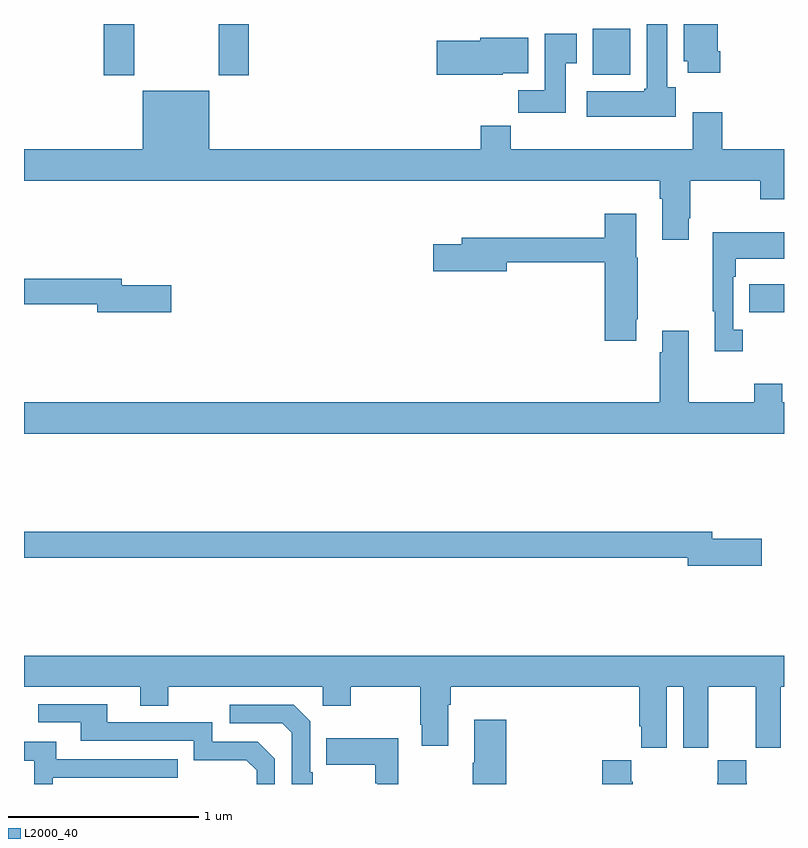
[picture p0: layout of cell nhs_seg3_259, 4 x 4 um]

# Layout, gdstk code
import gdstk
lib = gdstk.Library(unit=1e-6, precision=1e-09)
def R(c, l, rs):  # rectangles x0, y0, x1, y1
    for r in rs: c.add(gdstk.rectangle(r[:2], r[2:], *l))
def P(c, l, *ps):  # polygons
    for p in ps: c.add(gdstk.Polygon(p, *l))
L2000_40 = (2000, 40)

nhs_seg3_259 = lib.new_cell('nhs_seg3_259')
R(nhs_seg3_259, L2000_40, [(126.817,706.882,127,707.029), (123.419,708.129,123.579,708.4), (124.024,708.129,124.184,708.4), (125.993,708.134,126.19,708.376)])
P(nhs_seg3_259, L2000_40, [(126.43,708.066),(126.385,708.066),(126.385,708.4),(126.278,708.4),(126.278,708.06),(126.265,708.06),(126.265,708.046),(125.961,708.046),(125.961,707.912),(126.43,707.912)],
  [(126.665,708.256),(126.652,708.256),(126.652,708.4),(126.473,708.4),(126.473,708.204),(126.494,708.204),(126.494,708.144),(126.665,708.144)],
  [(125.851,708.193),(125.908,708.193),(125.908,708.349),(125.741,708.349),(125.741,708.052),(125.602,708.052),(125.602,707.934),(125.851,707.934)],
  [(125.52,708.14),(125.653,708.14),(125.653,708.328),(125.402,708.328),(125.402,708.311),(125.172,708.311),(125.172,708.134),(125.52,708.134)],
  [(126.499,707.377),(126.507,707.377),(126.507,707.576),(126.874,707.576),(126.874,707.477),(127,707.477),(127,707.74),(126.674,707.74),(126.674,707.935),(126.521,707.935),(126.521,707.74),(125.561,707.74),(125.561,707.864),(125.405,707.864),(125.405,707.74),(123.976,707.74),(123.976,708.049),(123.626,708.049),(123.626,707.74),(123,707.74),(123,707.576),(126.347,707.576),(126.347,707.48),(126.359,707.48),(126.359,707.265),(126.499,707.265)],
  [(126.223,706.846),(126.231,706.846),(126.231,707.169),(126.223,707.169),(126.223,707.401),(126.056,707.401),(126.056,707.275),(125.303,707.275),(125.303,707.241),(125.154,707.241),(125.154,707.099),(125.542,707.099),(125.542,707.146),(126.056,707.146),(126.056,706.734),(126.223,706.734)],
  [(126.784,706.79),(126.732,706.79),(126.732,707.069),(126.745,707.069),(126.745,707.165),(127,707.165),(127,707.305),(126.624,707.305),(126.624,706.889),(126.635,706.889),(126.635,706.677),(126.784,706.677)],
  [(123.775,707.024),(123.514,707.024),(123.514,707.06),(123,707.06),(123,706.924),(123.386,706.924),(123.386,706.882),(123.775,706.882)],
  [(127,706.408),(126.991,706.408),(126.991,706.507),(126.844,706.507),(126.844,706.408),(126.499,706.408),(126.499,706.786),(126.359,706.786),(126.359,706.673),(126.347,706.673),(126.347,706.408),(123,706.408),(123,706.244),(127,706.244)],
  [(126.883,705.692),(126.622,705.692),(126.622,705.728),(123,705.728),(123,705.592),(126.494,705.592),(126.494,705.55),(126.883,705.55)],
  [(126.382,704.912),(126.47,704.912),(126.47,704.592),(126.6,704.592),(126.6,704.704),(126.601,704.704),(126.601,704.912),(126.851,704.912),(126.851,704.704),(126.852,704.704),(126.852,704.592),(126.982,704.592),(126.982,704.912),(127,704.912),(127,705.076),(123,705.076),(123,704.912),(123.611,704.912),(123.611,704.813),(123.759,704.813),(123.759,704.912),(124.572,704.912),(124.572,704.813),(124.719,704.813),(124.719,704.912),(125.086,704.912),(125.086,704.713),(125.093,704.713),(125.093,704.601),(125.233,704.601),(125.233,704.816),(125.246,704.816),(125.246,704.912),(126.239,704.912),(126.239,704.704),(126.248,704.704),(126.248,704.592),(126.382,704.592)],
  [(124.32,704.532),(124.23,704.622),(123.99,704.622),(123.99,704.724),(123.439,704.724),(123.439,704.82),(123.075,704.82),(123.075,704.724),(123.299,704.724),(123.299,704.628),(123.894,704.628),(123.894,704.525),(124.171,704.525),(124.224,704.472),(124.224,704.4),(124.32,704.4)],
  [(124.519,704.461),(124.506,704.461),(124.506,704.73),(124.419,704.817),(124.083,704.817),(124.083,704.721),(124.359,704.721),(124.41,704.67),(124.41,704.4),(124.519,704.4)],
  [(125.537,704.737),(125.369,704.737),(125.369,704.513),(125.362,704.513),(125.362,704.4),(125.537,704.4)],
  [(124.969,704.641),(124.591,704.641),(124.591,704.501),(124.848,704.501),(124.848,704.405),(124.86,704.405),(124.86,704.4),(124.969,704.4)],
  [(123.15,704.433),(123.809,704.433),(123.809,704.529),(123.169,704.529),(123.169,704.623),(123,704.623),(123,704.523),(123.054,704.523),(123.054,704.4),(123.15,704.4)],
  [(126.804,704.411),(126.801,704.411),(126.801,704.524),(126.651,704.524),(126.651,704.411),(126.649,704.411),(126.649,704.4),(126.804,704.4)],
  [(126.204,704.411),(126.197,704.411),(126.197,704.524),(126.044,704.524),(126.044,704.4),(126.204,704.4)])

lib.write_gds('nhs_seg3_259.gds')
